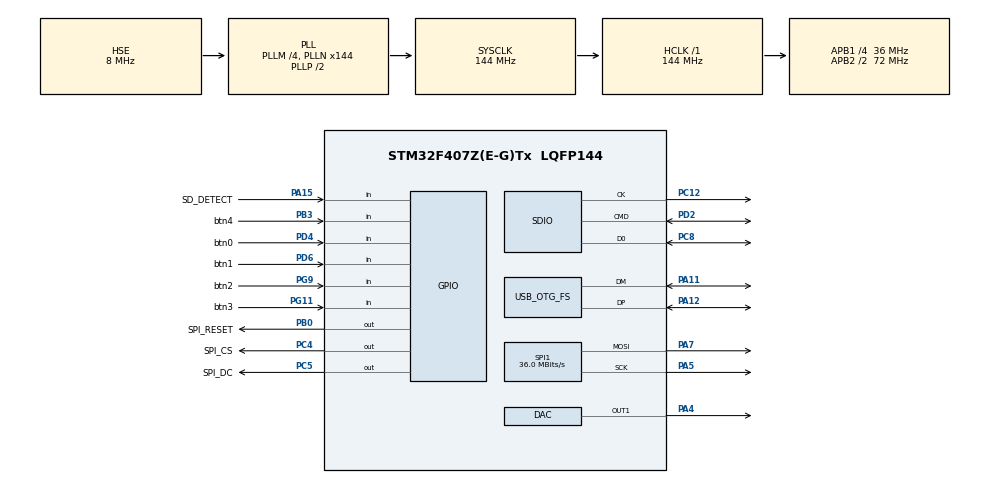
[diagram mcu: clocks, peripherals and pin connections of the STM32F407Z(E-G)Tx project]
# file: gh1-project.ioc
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DAC.DAC_Trigger=DAC_TRIGGER_T7_TRGO
Dma.DAC1.0.Direction=DMA_MEMORY_TO_PERIPH
Dma.DAC1.0.FIFOMode=DMA_FIFOMODE_DISABLE
Dma.DAC1.0.Instance=DMA1_Stream5
Dma.DAC1.0.MemDataAlignment=DMA_MDATAALIGN_HALFWORD
Dma.DAC1.0.MemInc=DMA_MINC_ENABLE
Dma.DAC1.0.Mode=DMA_CIRCULAR
Dma.DAC1.0.PeriphDataAlignment=DMA_PDATAALIGN_HALFWORD
Dma.DAC1.0.PeriphInc=DMA_PINC_DISABLE
Dma.DAC1.0.Priority=DMA_PRIORITY_LOW
Dma.Request0=DAC1
Dma.Request1=SDIO
Dma.SDIO.1.Direction=DMA_PERIPH_TO_MEMORY
Dma.SDIO.1.FIFOMode=DMA_FIFOMODE_ENABLE
Dma.SDIO.1.FIFOThreshold=DMA_FIFO_THRESHOLD_FULL
Dma.SDIO.1.Instance=DMA2_Stream3
Dma.SDIO.1.MemBurst=DMA_MBURST_INC4
Dma.SDIO.1.MemDataAlignment=DMA_MDATAALIGN_WORD
Dma.SDIO.1.MemInc=DMA_MINC_ENABLE
Dma.SDIO.1.Mode=DMA_PFCTRL
Dma.SDIO.1.PeriphBurst=DMA_PBURST_INC4
Dma.SDIO.1.PeriphDataAlignment=DMA_PDATAALIGN_WORD
Dma.SDIO.1.PeriphInc=DMA_PINC_DISABLE
Dma.SDIO.1.Priority=DMA_PRIORITY_LOW
FATFS.BSP.number=1
FATFS._USE_CHMOD=1
FATFS._USE_EXPAND=1
FATFS._USE_FIND=1
FATFS._USE_LFN=1
FATFS0.BSP.STBoard=false
FATFS0.BSP.api=Unknown
FATFS0.BSP.instance=PA15
FATFS0.BSP.ip=GPIO
FATFS0.BSP.mode=Input
FATFS0.BSP.name=Detect_SDIO
FATFS0.BSP.solution=PA15
Mcu.Family=STM32F4
Mcu.Name=STM32F407Z(E-G)Tx
Mcu.Package=LQFP144
NVIC.DMA1_Stream5_IRQn=true\:0\:0\:false\:false\:true\:false\:true\:true
NVIC.DMA2_Stream3_IRQn=true\:0\:0\:false\:false\:true\:false\:true\:true
NVIC.PriorityGroup=NVIC_PRIORITYGROUP_4
PA11.Mode=Device_Only
PA11.Signal=USB_OTG_FS_DM
PA12.Mode=Device_Only
PA12.Signal=USB_OTG_FS_DP
PA15.GPIO_Label=SD_DETECT
PA15.GPIO_PuPd=GPIO_PULLDOWN
PA15.Signal=GPIO_Input
PA4.Signal=COMP_DAC1_group
PA5.Mode=TX_Only_Simplex_Unidirect_Master
PA5.Signal=SPI1_SCK
PA7.Mode=TX_Only_Simplex_Unidirect_Master
PA7.Signal=SPI1_MOSI
PB0.GPIO_Label=SPI_RESET
PB0.GPIO_PuPd=GPIO_NOPULL
PB0.PinState=GPIO_PIN_SET
PB0.Signal=GPIO_Output
PB3.GPIO_Label=btn4
PB3.GPIO_PuPd=GPIO_PULLDOWN
PB3.Signal=GPIO_Input
PC12.Mode=SD_1_bit
PC12.Signal=SDIO_CK
PC4.GPIO_Label=SPI_CS
PC4.GPIO_PuPd=GPIO_NOPULL
PC4.GPIO_Speed=GPIO_SPEED_FREQ_HIGH
PC4.PinState=GPIO_PIN_SET
PC4.Signal=GPIO_Output
PC5.GPIO_Label=SPI_DC
PC5.GPIO_PuPd=GPIO_NOPULL
PC5.GPIO_Speed=GPIO_SPEED_FREQ_HIGH
PC5.PinState=GPIO_PIN_SET
PC5.Signal=GPIO_Output
PC8.Mode=SD_1_bit
PC8.Signal=SDIO_D0
PD2.Mode=SD_1_bit
PD2.Signal=SDIO_CMD
PD4.GPIO_Label=btn0
PD4.GPIO_PuPd=GPIO_PULLDOWN
PD4.Signal=GPIO_Input
PD6.GPIO_Label=btn1
PD6.GPIO_PuPd=GPIO_PULLDOWN
PD6.Signal=GPIO_Input
PG11.GPIO_Label=btn3
PG11.GPIO_PuPd=GPIO_PULLDOWN
PG11.Signal=GPIO_Input
PG9.GPIO_Label=btn2
PG9.GPIO_PuPd=GPIO_PULLDOWN
PG9.Signal=GPIO_Input
PH0-OSC_IN.Mode=HSE-External-Oscillator
PH0-OSC_IN.Signal=RCC_OSC_IN
PH1-OSC_OUT.Mode=HSE-External-Oscillator
PH1-OSC_OUT.Signal=RCC_OSC_OUT
ProjectManager.HeapSize=0x200
ProjectManager.StackSize=0x400
ProjectManager.TargetToolchain=STM32CubeIDE
RCC.48MHZClocksFreq_Value=48000000
RCC.AHBFreq_Value=144000000
RCC.APB1CLKDivider=RCC_HCLK_DIV4
RCC.APB1Freq_Value=36000000
RCC.APB1TimFreq_Value=72000000
RCC.APB2CLKDivider=RCC_HCLK_DIV2
RCC.APB2Freq_Value=72000000
RCC.APB2TimFreq_Value=144000000
RCC.CortexFreq_Value=144000000
RCC.HCLKFreq_Value=144000000
RCC.HSE_VALUE=8000000
RCC.HSI_VALUE=16000000
RCC.LSE_VALUE=32768
RCC.PLLM=4
RCC.PLLN=144
RCC.PLLQ=6
RCC.SYSCLKFreq_VALUE=144000000
RCC.SYSCLKSource=RCC_SYSCLKSOURCE_PLLCLK
RCC.VCOOutputFreq_Value=288000000
SH.COMP_DAC1_group.0=DAC_OUT1,DAC_OUT1
SPI1.BaudRatePrescaler=SPI_BAUDRATEPRESCALER_2
SPI1.CalculateBaudRate=36.0 MBits/s
SPI1.Direction=SPI_DIRECTION_2LINES
SPI1.Mode=SPI_MODE_MASTER
SPI1.VirtualType=VM_MASTER
TIM7.Period=1633
TIM7.TIM_MasterOutputTrigger=TIM_TRGO_UPDATE
USB_OTG_FS.VirtualMode=Device_Only
VP_FATFS_VS_SDIO.Mode=SDIO
VP_TIM7_VS_ClockSourceINT.Mode=Enable_Timer
board=custom

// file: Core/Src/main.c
/* USER CODE BEGIN Header */
/**
  ******************************************************************************
  * @file           : main.c
  * @brief          : Main program body
  ******************************************************************************
  * @attention
  *
  * Copyright (c) 2026 STMicroelectronics.
  * All rights reserved.
  *
  * This software is licensed under terms that can be found in the LICENSE file
  * in the root directory of this software component.
  * If no LICENSE file comes with this software, it is provided AS-IS.
  *
  ******************************************************************************
  */
/* USER CODE END Header */
#include "main.h"
#include "fatfs.h"

/* USER CODE BEGIN Includes */

#include "ili9341.h"
#include "game.h"
#include "audio.h" //TODO FOR TESTING TESTTONE
/* USER CODE END Includes */

DAC_HandleTypeDef hdac;
DMA_HandleTypeDef hdma_dac1;

SD_HandleTypeDef hsd;
DMA_HandleTypeDef hdma_sdio;

SPI_HandleTypeDef hspi1;

TIM_HandleTypeDef htim7;

PCD_HandleTypeDef hpcd_USB_OTG_FS;

/* USER CODE BEGIN PV */
uint32_t loop_count = 0;

/* USER CODE END PV */

void SystemClock_Config(void);
static void MX_GPIO_Init(void);
static void MX_DMA_Init(void);
static void MX_USB_OTG_FS_PCD_Init(void);
static void MX_SPI1_Init(void);
static void MX_SDIO_SD_Init(void);
static void MX_DAC_Init(void);
static void MX_TIM7_Init(void);

/* USER CODE BEGIN 0 */
uint8_t BSP_SD_IsDetected(void) //@JAH override this function to make it always think there's an SD card since its just another thing that can break
{
	__IO uint8_t status = SD_PRESENT;

//	if (HAL_GPIO_REadPin(SD_DETECT_GPIO_PORT, SD_DETECT_PIN) != GPIO_PIN_RESET) {
//		status = SD_NOT_PRESENT;
//	}
//
	return status;
}
/* USER CODE END 0 */

int main(void)
{

  /* MCU Configuration--------------------------------------------------------*/

  /* Reset of all peripherals, Initializes the Flash interface and the Systick. */
  HAL_Init();

  /* Configure the system clock */
  SystemClock_Config();

  /* Initialize all configured peripherals */
  MX_GPIO_Init();
  MX_DMA_Init();
  MX_USB_OTG_FS_PCD_Init();
  MX_SPI1_Init();
  MX_SDIO_SD_Init();
  MX_FATFS_Init();
  MX_DAC_Init();
  MX_TIM7_Init();
  /* USER CODE BEGIN 2 */
	//@JAH this is the little block  from STM32Worlds video that makes sure you can read the card and SDIO initialized correctly
	printf("\n\n\n\n -------- \nStarting\n");

	//check SD initialization
	volatile uint32_t sd_block_size;
	volatile uint32_t sd_block_nbr;
	volatile uint32_t sd_card_size_kb;
	volatile uint32_t sd_card_version;

	sd_block_size   = hsd.SdCard.BlockSize;
	sd_block_nbr    = hsd.SdCard.BlockNbr;
	sd_card_size_kb = (hsd.SdCard.BlockSize * hsd.SdCard.BlockNbr) / 1000;
	sd_card_version = hsd.SdCard.CardVersion;

	//MOUNT SD card volume so FatFs file operations (open/read/write) can be used
	if (f_mount(&SDFatFS, (TCHAR const*) SDPath, 0) != FR_OK) { //@JAH TODO PROBLEM 0 could calso be "0:"
		printf ("Unable to mount disk\n");
		Error_Handler() ;
	}

	ILI9341_Init(); //initialize the ili9341
	ILI9341_FillScreen(ILI9341_BLUE);
	ILI9341_FillScreen(ILI9341_BLACK);
	init_game();
	//Audio_TestTone();

	uint32_t current_tick = 0;
	uint32_t last_tick = 0;
	uint32_t delta = 0;

	static uint32_t loop_counter = 0;   // counts loop iterations
	static uint32_t fps_timer   = 0;    // timestamp of last report
  /* USER CODE END 2 */

  /* Infinite loop */
	while (1)
	{

    /* USER CODE BEGIN 3 */

		uint32_t current_tick = HAL_GetTick();
		float delta = (current_tick - last_tick) / 1000.0f; // convert ms → seconds //TODO expensive operation
		last_tick = current_tick;

		loop_counter++;

		if (current_tick - fps_timer >= 1000) //one second elapsed //FPS COUNTER
		{
		    //print number of loops
		    printf("Loops in last second: %lu\n", loop_counter);

		    loop_counter = 0;        //reset counter
		    fps_timer = current_tick; //reset timer
		}

		handle_events();
		update_game(delta);
		display_game();
	}
  /* USER CODE END 3 */
}

void SystemClock_Config(void)
{
  RCC_OscInitTypeDef RCC_OscInitStruct = {0};
  RCC_ClkInitTypeDef RCC_ClkInitStruct = {0};

  /** Configure the main internal regulator output voltage
  */
  __HAL_RCC_PWR_CLK_ENABLE();
  __HAL_PWR_VOLTAGESCALING_CONFIG(PWR_REGULATOR_VOLTAGE_SCALE1);

  /** Initializes the RCC Oscillators according to the specified parameters
  * in the RCC_OscInitTypeDef structure.
  */
  RCC_OscInitStruct.OscillatorType = RCC_OSCILLATORTYPE_HSE;
  RCC_OscInitStruct.HSEState = RCC_HSE_ON;
  RCC_OscInitStruct.PLL.PLLState = RCC_PLL_ON;
  RCC_OscInitStruct.PLL.PLLSource = RCC_PLLSOURCE_HSE;
  RCC_OscInitStruct.PLL.PLLM = 4;
  RCC_OscInitStruct.PLL.PLLN = 144;
  RCC_OscInitStruct.PLL.PLLP = RCC_PLLP_DIV2;
  RCC_OscInitStruct.PLL.PLLQ = 6;
  if (HAL_RCC_OscConfig(&RCC_OscInitStruct) != HAL_OK)
  {
    Error_Handler();
  }

  /** Initializes the CPU, AHB and APB buses clocks
  */
  RCC_ClkInitStruct.ClockType = RCC_CLOCKTYPE_HCLK|RCC_CLOCKTYPE_SYSCLK
                              |RCC_CLOCKTYPE_PCLK1|RCC_CLOCKTYPE_PCLK2;
  RCC_ClkInitStruct.SYSCLKSource = RCC_SYSCLKSOURCE_PLLCLK;
  RCC_ClkInitStruct.AHBCLKDivider = RCC_SYSCLK_DIV1;
  RCC_ClkInitStruct.APB1CLKDivider = RCC_HCLK_DIV4;
  RCC_ClkInitStruct.APB2CLKDivider = RCC_HCLK_DIV2;

  if (HAL_RCC_ClockConfig(&RCC_ClkInitStruct, FLASH_LATENCY_4) != HAL_OK)
  {
    Error_Handler();
  }
}

static void MX_DAC_Init(void)
{

  DAC_ChannelConfTypeDef sConfig = {0};

  /** DAC Initialization
  */
  hdac.Instance = DAC;
  if (HAL_DAC_Init(&hdac) != HAL_OK)
  {
    Error_Handler();
  }

  /** DAC channel OUT1 config
  */
  sConfig.DAC_Trigger = DAC_TRIGGER_T7_TRGO;
  sConfig.DAC_OutputBuffer = DAC_OUTPUTBUFFER_ENABLE;
  if (HAL_DAC_ConfigChannel(&hdac, &sConfig, DAC_CHANNEL_1) != HAL_OK)
  {
    Error_Handler();
  }

}

static void MX_SDIO_SD_Init(void)
{

  hsd.Instance = SDIO;
  hsd.Init.ClockEdge = SDIO_CLOCK_EDGE_RISING;
  hsd.Init.ClockBypass = SDIO_CLOCK_BYPASS_DISABLE;
  hsd.Init.ClockPowerSave = SDIO_CLOCK_POWER_SAVE_DISABLE;
  hsd.Init.BusWide = SDIO_BUS_WIDE_1B;
  hsd.Init.HardwareFlowControl = SDIO_HARDWARE_FLOW_CONTROL_DISABLE;
  hsd.Init.ClockDiv = 0;
  /* USER CODE BEGIN SDIO_Init 2 */
  //@JAH the first init has to be with a 1bit wide bus otherwise there could be a very common bug
  hsd.Init.BusWide = SDIO_BUS_WIDE_1B;
  if(HAL_SD_Init(&hsd) != HAL_OK) {
	  Error_Handler();
  }

  //NOW WE CAN SWITCH TO 4 BIT MODE
  if (HAL_SD_ConfigWideBusOperation(&hsd, SDIO_BUS_WIDE_4B) != HAL_OK) {
	  Error_Handler();
  }
  /* USER CODE END SDIO_Init 2 */

}

static void MX_SPI1_Init(void)
{

  /* SPI1 parameter configuration*/
  hspi1.Instance = SPI1;
  hspi1.Init.Mode = SPI_MODE_MASTER;
  hspi1.Init.Direction = SPI_DIRECTION_2LINES;
  hspi1.Init.DataSize = SPI_DATASIZE_8BIT;
  hspi1.Init.CLKPolarity = SPI_POLARITY_LOW;
  hspi1.Init.CLKPhase = SPI_PHASE_1EDGE;
  hspi1.Init.NSS = SPI_NSS_SOFT;
  hspi1.Init.BaudRatePrescaler = SPI_BAUDRATEPRESCALER_2;
  hspi1.Init.FirstBit = SPI_FIRSTBIT_MSB;
  hspi1.Init.TIMode = SPI_TIMODE_DISABLE;
  hspi1.Init.CRCCalculation = SPI_CRCCALCULATION_DISABLE;
  hspi1.Init.CRCPolynomial = 10;
  if (HAL_SPI_Init(&hspi1) != HAL_OK)
  {
    Error_Handler();
  }

}

static void MX_TIM7_Init(void)
{

  TIM_MasterConfigTypeDef sMasterConfig = {0};

  htim7.Instance = TIM7;
  htim7.Init.Prescaler = 0;
  htim7.Init.CounterMode = TIM_COUNTERMODE_UP;
  htim7.Init.Period = 1633;
  htim7.Init.AutoReloadPreload = TIM_AUTORELOAD_PRELOAD_DISABLE;
  if (HAL_TIM_Base_Init(&htim7) != HAL_OK)
  {
    Error_Handler();
  }
  sMasterConfig.MasterOutputTrigger = TIM_TRGO_UPDATE;
  sMasterConfig.MasterSlaveMode = TIM_MASTERSLAVEMODE_DISABLE;
  if (HAL_TIMEx_MasterConfigSynchronization(&htim7, &sMasterConfig) != HAL_OK)
  {
    Error_Handler();
  }

}

static void MX_USB_OTG_FS_PCD_Init(void)
{

  hpcd_USB_OTG_FS.Instance = USB_OTG_FS;
  hpcd_USB_OTG_FS.Init.dev_endpoints = 4;
  hpcd_USB_OTG_FS.Init.speed = PCD_SPEED_FULL;
  hpcd_USB_OTG_FS.Init.dma_enable = DISABLE;
  hpcd_USB_OTG_FS.Init.phy_itface = PCD_PHY_EMBEDDED;
  hpcd_USB_OTG_FS.Init.Sof_enable = DISABLE;
  hpcd_USB_OTG_FS.Init.low_power_enable = DISABLE;
  hpcd_USB_OTG_FS.Init.lpm_enable = DISABLE;
  hpcd_USB_OTG_FS.Init.vbus_sensing_enable = DISABLE;
  hpcd_USB_OTG_FS.Init.use_dedicated_ep1 = DISABLE;
  if (HAL_PCD_Init(&hpcd_USB_OTG_FS) != HAL_OK)
  {
    Error_Handler();
  }

}

static void MX_DMA_Init(void)
{

  /* DMA controller clock enable */
  __HAL_RCC_DMA1_CLK_ENABLE();
  __HAL_RCC_DMA2_CLK_ENABLE();

  /* DMA interrupt init */
  /* DMA1_Stream5_IRQn interrupt configuration */
  HAL_NVIC_SetPriority(DMA1_Stream5_IRQn, 0, 0);
  HAL_NVIC_EnableIRQ(DMA1_Stream5_IRQn);
  /* DMA2_Stream3_IRQn interrupt configuration */
  HAL_NVIC_SetPriority(DMA2_Stream3_IRQn, 0, 0);
  HAL_NVIC_EnableIRQ(DMA2_Stream3_IRQn);

}

static void MX_GPIO_Init(void)
{
  GPIO_InitTypeDef GPIO_InitStruct = {0};

  /* GPIO Ports Clock Enable */
  __HAL_RCC_GPIOH_CLK_ENABLE();
  __HAL_RCC_GPIOA_CLK_ENABLE();
  __HAL_RCC_GPIOC_CLK_ENABLE();
  __HAL_RCC_GPIOB_CLK_ENABLE();
  __HAL_RCC_GPIOD_CLK_ENABLE();
  __HAL_RCC_GPIOG_CLK_ENABLE();

  /*Configure GPIO pin Output Level */
  HAL_GPIO_WritePin(GPIOC, SPI_CS_Pin|SPI_DC_Pin, GPIO_PIN_SET);

  /*Configure GPIO pin Output Level */
  HAL_GPIO_WritePin(SPI_RESET_GPIO_Port, SPI_RESET_Pin, GPIO_PIN_SET);

  /*Configure GPIO pins : SPI_CS_Pin SPI_DC_Pin */
  GPIO_InitStruct.Pin = SPI_CS_Pin|SPI_DC_Pin;
  GPIO_InitStruct.Mode = GPIO_MODE_OUTPUT_PP;
  GPIO_InitStruct.Pull = GPIO_NOPULL;
  GPIO_InitStruct.Speed = GPIO_SPEED_FREQ_HIGH;
  HAL_GPIO_Init(GPIOC, &GPIO_InitStruct);

  /*Configure GPIO pin : SPI_RESET_Pin */
  GPIO_InitStruct.Pin = SPI_RESET_Pin;
  GPIO_InitStruct.Mode = GPIO_MODE_OUTPUT_PP;
  GPIO_InitStruct.Pull = GPIO_NOPULL;
  GPIO_InitStruct.Speed = GPIO_SPEED_FREQ_LOW;
  HAL_GPIO_Init(SPI_RESET_GPIO_Port, &GPIO_InitStruct);

  /*Configure GPIO pin : SD_DETECT_Pin */
  GPIO_InitStruct.Pin = SD_DETECT_Pin;
  GPIO_InitStruct.Mode = GPIO_MODE_INPUT;
  GPIO_InitStruct.Pull = GPIO_PULLDOWN;
  HAL_GPIO_Init(SD_DETECT_GPIO_Port, &GPIO_InitStruct);

  /*Configure GPIO pins : btn0_Pin btn1_Pin */
  GPIO_InitStruct.Pin = btn0_Pin|btn1_Pin;
  GPIO_InitStruct.Mode = GPIO_MODE_INPUT;
  GPIO_InitStruct.Pull = GPIO_PULLDOWN;
  HAL_GPIO_Init(GPIOD, &GPIO_InitStruct);

  /*Configure GPIO pins : btn2_Pin btn3_Pin */
  GPIO_InitStruct.Pin = btn2_Pin|btn3_Pin;
  GPIO_InitStruct.Mode = GPIO_MODE_INPUT;
  GPIO_InitStruct.Pull = GPIO_PULLDOWN;
  HAL_GPIO_Init(GPIOG, &GPIO_InitStruct);

  /*Configure GPIO pin : btn4_Pin */
  GPIO_InitStruct.Pin = btn4_Pin;
  GPIO_InitStruct.Mode = GPIO_MODE_INPUT;
  GPIO_InitStruct.Pull = GPIO_PULLDOWN;
  HAL_GPIO_Init(btn4_GPIO_Port, &GPIO_InitStruct);

}

void Error_Handler(void)
{
	__disable_irq();
	while (1)
	{
	}
}
